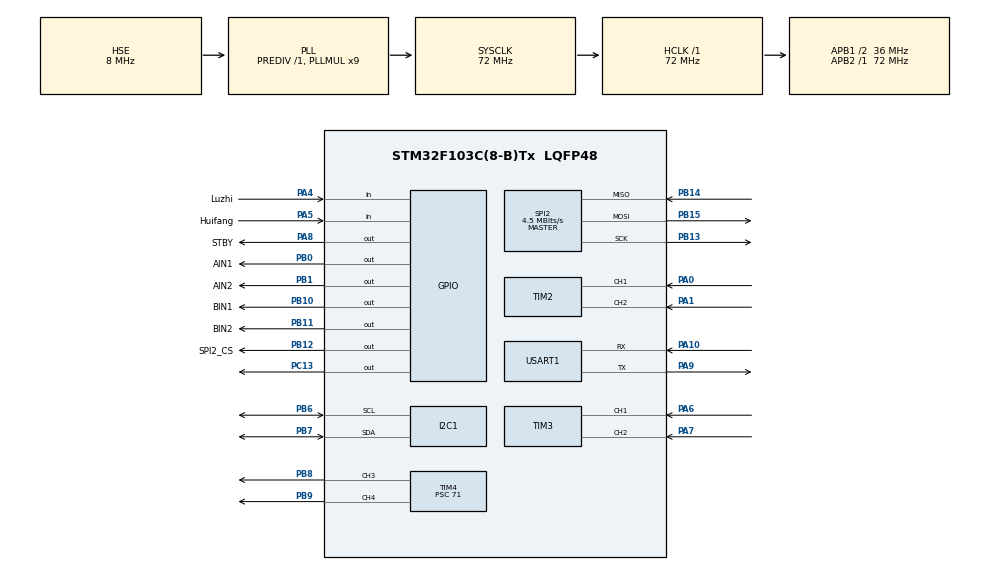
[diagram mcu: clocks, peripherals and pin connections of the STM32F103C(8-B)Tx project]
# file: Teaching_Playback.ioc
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Mcu.Family=STM32F1
Mcu.Name=STM32F103C(8-B)Tx
Mcu.Package=LQFP48
NVIC.PriorityGroup=NVIC_PRIORITYGROUP_4
NVIC.TIM1_UP_IRQn=true\:0\:0\:false\:false\:true\:true\:true\:true
PA0-WKUP.Signal=S_TIM2_CH1_ETR
PA1.Signal=S_TIM2_CH2
PA10.Mode=Asynchronous
PA10.Signal=USART1_RX
PA13.Mode=Serial_Wire
PA13.Signal=SYS_JTMS-SWDIO
PA14.Mode=Serial_Wire
PA14.Signal=SYS_JTCK-SWCLK
PA4.GPIO_Label=Luzhi
PA4.GPIO_PuPd=GPIO_PULLUP
PA4.Signal=GPIO_Input
PA5.GPIO_Label=Huifang
PA5.GPIO_PuPd=GPIO_PULLUP
PA5.Signal=GPIO_Input
PA6.Signal=S_TIM3_CH1
PA7.Signal=S_TIM3_CH2
PA8.GPIO_Label=STBY
PA8.Signal=GPIO_Output
PA9.Mode=Asynchronous
PA9.Signal=USART1_TX
PB0.GPIO_Label=AIN1
PB0.Signal=GPIO_Output
PB1.GPIO_Label=AIN2
PB1.Signal=GPIO_Output
PB10.GPIO_Label=BIN1
PB10.Signal=GPIO_Output
PB11.GPIO_Label=BIN2
PB11.Signal=GPIO_Output
PB12.GPIO_Label=SPI2_CS
PB12.PinState=GPIO_PIN_SET
PB12.Signal=GPIO_Output
PB13.Mode=Full_Duplex_Master
PB13.Signal=SPI2_SCK
PB14.Mode=Full_Duplex_Master
PB14.Signal=SPI2_MISO
PB15.Mode=Full_Duplex_Master
PB15.Signal=SPI2_MOSI
PB6.Mode=I2C
PB6.Signal=I2C1_SCL
PB7.Mode=I2C
PB7.Signal=I2C1_SDA
PB8.Signal=S_TIM4_CH3
PB9.Signal=S_TIM4_CH4
PC13-TAMPER-RTC.Signal=GPIO_Output
PD0-OSC_IN.Mode=HSE-External-Oscillator
PD0-OSC_IN.Signal=RCC_OSC_IN
PD1-OSC_OUT.Mode=HSE-External-Oscillator
PD1-OSC_OUT.Signal=RCC_OSC_OUT
ProjectManager.HeapSize=0x200
ProjectManager.StackSize=0x400
ProjectManager.TargetToolchain=MDK-ARM V5.32
RCC.AHBFreq_Value=72000000
RCC.APB1CLKDivider=RCC_HCLK_DIV2
RCC.APB1Freq_Value=36000000
RCC.APB1TimFreq_Value=72000000
RCC.APB2Freq_Value=72000000
RCC.APB2TimFreq_Value=72000000
RCC.HCLKFreq_Value=72000000
RCC.PLLMUL=RCC_PLL_MUL9
RCC.PLLSourceVirtual=RCC_PLLSOURCE_HSE
RCC.SYSCLKFreq_VALUE=72000000
RCC.SYSCLKSource=RCC_SYSCLKSOURCE_PLLCLK
RCC.USBFreq_Value=72000000
SH.S_TIM2_CH1_ETR.0=TIM2_CH1,Encoder_Interface
SH.S_TIM2_CH2.0=TIM2_CH2,Encoder_Interface
SH.S_TIM3_CH1.0=TIM3_CH1,Encoder_Interface
SH.S_TIM3_CH2.0=TIM3_CH2,Encoder_Interface
SH.S_TIM4_CH3.0=TIM4_CH3,PWM Generation3 CH3
SH.S_TIM4_CH4.0=TIM4_CH4,PWM Generation4 CH4
SPI2.BaudRatePrescaler=SPI_BAUDRATEPRESCALER_8
SPI2.CalculateBaudRate=4.5 MBits/s
SPI2.Direction=SPI_DIRECTION_2LINES
SPI2.Mode=SPI_MODE_MASTER
SPI2.VirtualType=VM_MASTER
TIM1.Period=99
TIM1.Prescaler=7199
TIM2.EncoderMode=TIM_ENCODERMODE_TI12
TIM2.IC1Filter=8
TIM3.EncoderMode=TIM_ENCODERMODE_TI12
TIM3.IC1Filter=8
TIM4.Channel-PWM\ Generation3\ CH3=TIM_CHANNEL_3
TIM4.Channel-PWM\ Generation4\ CH4=TIM_CHANNEL_4
TIM4.Period=999
TIM4.Prescaler=71
USART1.VirtualMode=VM_ASYNC
VP_TIM1_VS_ClockSourceINT.Mode=Internal
VP_TIM4_VS_ClockSourceINT.Mode=Internal
board=custom

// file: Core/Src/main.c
/* USER CODE BEGIN Header */
/**
  ******************************************************************************
  * @file           : main.c
  * @brief          : Main program body
  ******************************************************************************
  * @attention
  *
  * Copyright (c) 2026 STMicroelectronics.
  * All rights reserved.
  *
  * This software is licensed under terms that can be found in the LICENSE file
  * in the root directory of this software component.
  * If no LICENSE file comes with this software, it is provided AS-IS.
  *
  ******************************************************************************
  */
/* USER CODE END Header */
#include "main.h"
#include "i2c.h"
#include "spi.h"
#include "tim.h"
#include "usart.h"
#include "gpio.h"

/* USER CODE BEGIN Includes */
#include "teaching.h"
/* USER CODE END Includes */

/* USER CODE BEGIN PD */
/** 按键消抖时间 (ms) */
#define BTN_DEBOUNCE_MS   20U
/* USER CODE END PD */

/* USER CODE BEGIN PV */
/** 控制任务时间基准 */
static uint32_t last_ctrl_tick = 0;

/** 按键消抖状态 */
typedef struct {
    uint32_t press_time;   /* 检测到下降沿的时刻 */
    uint8_t  detecting;    /* 正在消抖中 */
    uint8_t  triggered;    /* 已触发 (单次有效) */
} BtnState_t;

static BtnState_t btn_luzhi  = {0};   /* PA4 录制键 */
static BtnState_t btn_huifang = {0};  /* PA5 回放键 */
/* USER CODE END PV */

void SystemClock_Config(void);
/* USER CODE BEGIN PFP */
static void Button_Scan(void);
static uint8_t Button_IsTriggered(BtnState_t *btn, GPIO_TypeDef *port, uint16_t pin);
/* USER CODE END PFP */

/* USER CODE BEGIN 0 */
/* #region agent log - LED闪烁辅助宏 (调试用) */
#define DBG_LED_PORT  GPIOC
#define DBG_LED_PIN   GPIO_PIN_13
/* LED低电平亮, blink n次 */
static void dbg_led_blink(uint8_t n) {
    for (uint8_t i = 0; i < n; i++) {
        HAL_GPIO_WritePin(DBG_LED_PORT, DBG_LED_PIN, GPIO_PIN_RESET); /* 亮 */
        HAL_Delay(150);
        HAL_GPIO_WritePin(DBG_LED_PORT, DBG_LED_PIN, GPIO_PIN_SET);   /* 灭 */
        HAL_Delay(150);
    }
    HAL_Delay(500); /* 组间间隔 */
}
/* #endregion */
/* USER CODE END 0 */

int main(void)
{

  /* MCU Configuration--------------------------------------------------------*/

  /* Reset of all peripherals, Initializes the Flash interface and the Systick. */
  HAL_Init();

  /* Configure the system clock */
  SystemClock_Config();

  /* Initialize all configured peripherals */
  MX_GPIO_Init();
  MX_I2C1_Init();
  MX_SPI2_Init();
  MX_TIM1_Init();
  MX_TIM2_Init();
  MX_TIM3_Init();
  MX_TIM4_Init();
  MX_USART1_UART_Init();
  /* USER CODE BEGIN 2 */

  /* #region agent log - 插桩 A: GPIO初始化完成, 系统时钟正常 (假设C验证)
   * 现象: 上电后看到 1闪 -> 时钟+GPIO均正常, Error_Handler未触发
   * 若看不到任何闪烁 -> 假设C成立, 时钟挂起 */
  dbg_led_blink(1);   /* 1闪 = 到达此处 (时钟+所有外设Init完成) */
  /* #endregion */

  /* #region agent log - 插桩 B: UART原始发送测试 (假设A/B/C验证)
   * 现象: 串口收到 ">>UART_OK\r\n" -> UART硬件工作, 排除假设A/B/C
   * 若只看到LED 1闪但串口无数据 -> 假设A(接线)或B(波特率)成立 */
  {
      const uint8_t test_msg[] = ">>UART_OK\r\n";
      HAL_UART_Transmit(&huart1, (uint8_t*)test_msg, sizeof(test_msg)-1, 500);
  }
  /* #endregion */

  /* #region agent log - 插桩 C: Teaching_Init开始前 2闪 (假设D验证)
   * 现象: 看到 2闪 -> 代码能到达此处, Teaching_Init内部可能挂住 */
  dbg_led_blink(2);   /* 2闪 = 即将进入 Teaching_Init */
  /* #endregion */

  /* 所有外设初始化完成后, 启动系统 */
  Teaching_Init();

  /* #region agent log - 插桩 D: Teaching_Init完成后 3闪 (假设D验证)
   * 现象: 看到 3闪 -> Teaching_Init正常返回, 初始化全部完成
   * 若只看到 2闪卡住 -> Teaching_Init内部挂住 (假设D: I2C/SPI死锁) */
  dbg_led_blink(3);   /* 3闪 = Teaching_Init 正常完成 */
  /* #endregion */

  last_ctrl_tick = HAL_GetTick();

  /* USER CODE END 2 */

  /* Infinite loop */
  while (1)
  {

    /* USER CODE BEGIN 3 */

    /* ---- 按键扫描 (每次主循环执行, 非阻塞) ---- */
    Button_Scan();

    /* ---- 10ms 控制任务 ---- */
    uint32_t now = HAL_GetTick();
    if ((now - last_ctrl_tick) >= TEACH_SAMPLE_MS) {
        last_ctrl_tick = now;
        Teaching_Task();
    }
  }
  /* USER CODE END 3 */
}

void SystemClock_Config(void)
{
  RCC_OscInitTypeDef RCC_OscInitStruct = {0};
  RCC_ClkInitTypeDef RCC_ClkInitStruct = {0};

  /** Initializes the RCC Oscillators according to the specified parameters
  * in the RCC_OscInitTypeDef structure.
  */
  RCC_OscInitStruct.OscillatorType = RCC_OSCILLATORTYPE_HSE;
  RCC_OscInitStruct.HSEState = RCC_HSE_ON;
  RCC_OscInitStruct.HSEPredivValue = RCC_HSE_PREDIV_DIV1;
  RCC_OscInitStruct.HSIState = RCC_HSI_ON;
  RCC_OscInitStruct.PLL.PLLState = RCC_PLL_ON;
  RCC_OscInitStruct.PLL.PLLSource = RCC_PLLSOURCE_HSE;
  RCC_OscInitStruct.PLL.PLLMUL = RCC_PLL_MUL9;
  if (HAL_RCC_OscConfig(&RCC_OscInitStruct) != HAL_OK)
  {
    Error_Handler();
  }

  /** Initializes the CPU, AHB and APB buses clocks
  */
  RCC_ClkInitStruct.ClockType = RCC_CLOCKTYPE_HCLK|RCC_CLOCKTYPE_SYSCLK
                              |RCC_CLOCKTYPE_PCLK1|RCC_CLOCKTYPE_PCLK2;
  RCC_ClkInitStruct.SYSCLKSource = RCC_SYSCLKSOURCE_PLLCLK;
  RCC_ClkInitStruct.AHBCLKDivider = RCC_SYSCLK_DIV1;
  RCC_ClkInitStruct.APB1CLKDivider = RCC_HCLK_DIV2;
  RCC_ClkInitStruct.APB2CLKDivider = RCC_HCLK_DIV1;

  if (HAL_RCC_ClockConfig(&RCC_ClkInitStruct, FLASH_LATENCY_2) != HAL_OK)
  {
    Error_Handler();
  }
}

/* USER CODE BEGIN 4 */

/**
 * 单个按键消抖检测 (下降沿触发, 按键低电平有效)
 * @param  btn   按键状态结构体
 * @param  port  GPIO端口
 * @param  pin   GPIO引脚
 * @return 1 = 本次扫描确认按下 (仅返回一次)
 */
static uint8_t Button_IsTriggered(BtnState_t *btn, GPIO_TypeDef *port, uint16_t pin)
{
    uint8_t result = 0;
    GPIO_PinState cur_state = HAL_GPIO_ReadPin(port, pin);

    if (!btn->detecting) {
        if (cur_state == GPIO_PIN_SET) {
            /* 引脚回高 (松开): 解锁, 允许下一次按下触发 */
            btn->triggered = 0;
        } else if (!btn->triggered) {
            /* 检测到低电平, 且上次已完整松开: 开始消抖 */
            btn->detecting  = 1;
            btn->press_time = HAL_GetTick();
        }
        /* 若 triggered=1 且引脚仍低: 按键持续被按住, 忽略 */
    } else {
        /* 消抖窗口内持续检测 */
        if (cur_state == GPIO_PIN_SET) {
            /* 消抖期间松开: 视为抖动, 取消 */
            btn->detecting = 0;
        } else if ((HAL_GetTick() - btn->press_time) >= BTN_DEBOUNCE_MS) {
            /* 消抖通过, 触发一次 */
            btn->triggered = 1;
            btn->detecting = 0;
            result = 1;
        }
    }
    return result;
}

/**
 * 按键扫描与响应
 *   PA4 (Luzhi_Pin):   录制键
 *     空闲态   -> 开始录制
 *     录制态   -> 停止录制
 *   PA5 (Huifang_Pin): 回放键
 *     空闲态   -> 开始回放
 *     回放态   -> 停止回放
 */
static void Button_Scan(void)
{
    /* PA4: 录制键 */
    if (Button_IsTriggered(&btn_luzhi, Luzhi_GPIO_Port, Luzhi_Pin)) {
        SystemState_t st = Teaching_GetState();
        if (st == SYS_IDLE) {
            Teaching_StartRecord();
        } else if (st == SYS_TEACHING) {
            Teaching_StopRecord();
        }
    }

    /* #region agent log - H-D: 每500次主循环打印一次PA5原始电平（检测按键硬件） */
    {
        static uint32_t _pa5_dbg_cnt = 0;
        _pa5_dbg_cnt++;
        if (_pa5_dbg_cnt >= 5000U) {
            _pa5_dbg_cnt = 0;
            GPIO_PinState _pa5 = HAL_GPIO_ReadPin(Huifang_GPIO_Port, Huifang_Pin);
            uart_printf("[DBG-7E] PA5 raw=%d (0=LOW/pressed,1=HIGH/idle)\r\n", (int)_pa5);
        }
    }
    /* #endregion */
    /* PA5: 回放键 */
    if (Button_IsTriggered(&btn_huifang, Huifang_GPIO_Port, Huifang_Pin)) {
        SystemState_t st = Teaching_GetState();
        /* #region agent log - H-A/H-C/H-D: PA5触发时打印当前状态 */
        uart_printf("[DBG-7E] PA5 triggered! state=%d (0=IDLE,1=TEACH,2=SAVE,3=RPL)\r\n", (int)st);
        /* #endregion */
        if (st == SYS_IDLE) {
            Teaching_StartReplay();
        } else if (st == SYS_REPLAYING) {
            Teaching_StopReplay();
        } else {
            /* #region agent log - H-A: PA5在非IDLE状态被忽略 */
            uart_printf("[DBG-7E] PA5 IGNORED: state != IDLE and != REPLAYING!\r\n");
            /* #endregion */
        }
    }
}

/* USER CODE END 4 */

void Error_Handler(void)
{
  __disable_irq();
  while (1)
  {
  }
}
